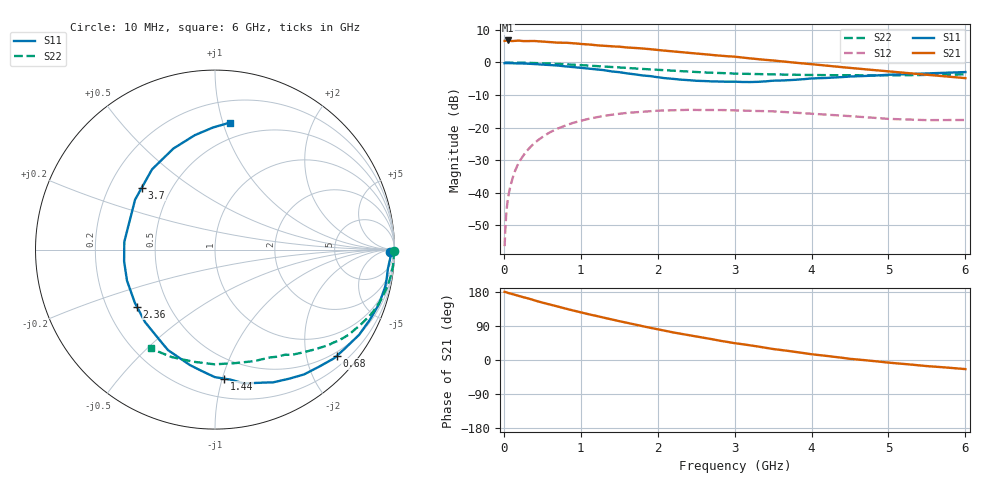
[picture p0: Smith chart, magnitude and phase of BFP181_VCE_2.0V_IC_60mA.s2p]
! Infineon Technologies  Discrete & RF Semiconductors
! BFP181
! VCE = 2.0 V,  IC =  60 mA
! Common Emitter S-Parameters:  Jan 2016
# GHz  S  MA  R  50
!  f  S11  S21  S12  S22
! GHz  MAG  ANG  MAG  ANG  MAG  ANG  MAG  ANG
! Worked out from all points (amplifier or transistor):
!   210 points, 10 MHz to 6 GHz, reference 50 ohm
!   highest |S21| = 6.8 dB at 50 MHz (marker M1)
!   |S21| within 3 dB of that: start of sweep to 2.031 GHz
!   unconditionally stable (mu >= 1): 3.553 GHz to end of sweep
!   at 185 MHz: K = 0.06, MSG = 19.0 dB, |S12| = -31.2 dB
!   at 1.52 GHz: K = 0.47, MSG = 10.3 dB, |S12| = -15.7 dB
!   at 6 GHz: K = 1.43, MAG = 2.5 dB, |S12| = -17.7 dB
!   S11 on the Smith chart (normalised r, x): 10 MHz: 62, -29; 680 MHz: 0.42, -2.60; 1.44 GHz: 0.34, -1.01; 2.36 GHz: 0.33, -0.29; 3.7 GHz: 0.34, +0.33; 6 GHz: 0.37, +1.06
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0.01  0.9739 -0.7  2.152 179.9  0.0015 84.4  0.9989 -0.3
0.025  0.9801 -1.6  2.168 179.2  0.0036 89.6  0.9981 -0.7
0.05  0.9781 -2.7  2.182 177.3  0.0076 90.1  0.9965 -1.5
0.08  0.9724 -4.7  2.153 175.7  0.0118 87.1  0.9969 -2.3
0.13  0.9697 -8.0  2.148 172.7  0.0192 84.8  0.9967 -3.7
0.2  0.9706 -12.3  2.172 168.6  0.0296 81.9  0.9951 -5.8
0.24  0.966 -14.6  2.14 166.4  0.0352 80.0  0.9928 -7.0
0.4  0.9468 -24.5  2.14 157.2  0.0581 73.1  0.9829 -11.7
0.68  0.9004 -41.2  2.025 142.2  0.094 61.5  0.9551 -19.4
0.8  0.8727 -48.4  2.017 135.7  0.1073 56.8  0.9418 -22.4
1.02  0.8244 -61.3  1.92 124.8  0.1288 48.4  0.9086 -28.0
1.44  0.7205 -86.0  1.76 105.3  0.1596 34.5  0.8481 -37.1
1.7  0.6585 -102.2  1.679 93.7  0.1715 27.1  0.8093 -42.1
2.02  0.5889 -122.1  1.549 80.2  0.1818 19.1  0.7691 -47.2
2.36  0.5388 -143.9  1.423 67.2  0.1865 11.1  0.731 -53.0
2.8  0.5105 -172.7  1.276 51.2  0.1865 2.6  0.6918 -59.6
3.1  0.5015 169.6  1.192 41.7  0.1821 -2.4  0.6707 -64.3
3.7  0.5345 139.7  1.015 23.9  0.1718 -10.0  0.65 -74.3
4.1  0.5729 124.8  0.918 13.0  0.1609 -13.8  0.6401 -82.0
4.5  0.6088 112.4  0.827 3.1  0.1498 -16.5  0.6391 -90.3
5.1  0.6527 98.1  0.713 -8.6  0.1347 -15.5  0.6363 -103.2
6  0.7125 83.3  0.575 -24.0  0.1307 -9.2  0.6576 -123.1
